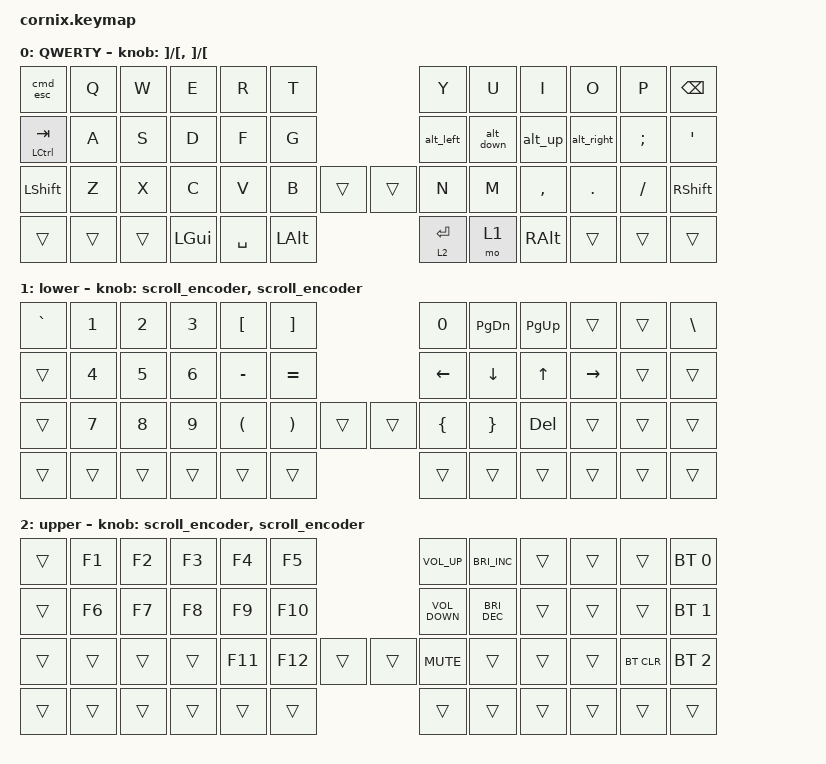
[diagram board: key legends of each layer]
#include <behaviors.dtsi>
#include <dt-bindings/zmk/bt.h>
#include <dt-bindings/zmk/keys.h>
#include <dt-bindings/zmk/pointing.h>

&soft_off { hold-time-ms = <2000>; };

/ {
    behaviors {
        alt_left: alt_left {
            compatible = "zmk,behavior-mod-morph";
            label = "ALT_LEFT";
            bindings = <&kp H>, <&kp LEFT>;

            #binding-cells = <0>;
            mods = <(MOD_RALT)>;
            keep-mods = <(MOD_RALT)>;
        };

        alt_right: alt_right {
            compatible = "zmk,behavior-mod-morph";
            label = "ALT_RIGHT";
            bindings = <&kp L>, <&kp RIGHT>;

            #binding-cells = <0>;
            mods = <(MOD_RALT)>;
            keep-mods = <(MOD_RALT)>;
        };

        alt_down: alt_down {
            compatible = "zmk,behavior-mod-morph";
            label = "ALT_DOWN";
            bindings = <&kp J>, <&kp DOWN>;

            #binding-cells = <0>;
            mods = <(MOD_RALT)>;
            keep-mods = <(MOD_RALT)>;
        };

        alt_up: alt_up {
            compatible = "zmk,behavior-mod-morph";
            label = "ALT_UP";
            bindings = <&kp K>, <&kp UP_ARROW>;

            #binding-cells = <0>;
            mods = <(MOD_RALT)>;
            keep-mods = <(MOD_RALT)>;
        };

        cmd_esc: cmd_esc {
            compatible = "zmk,behavior-mod-morph";
            label = "CMD_ESC";
            bindings = <&kp ESCAPE>, <&kp GRAVE>;

            #binding-cells = <0>;
            mods = <(MOD_LGUI)>;
            keep-mods = <(MOD_LGUI)>;
        };
    };

    scroll_encoder: scroll_encoder {
        compatible = "zmk,behavior-sensor-rotate";
        #sensor-binding-cells = <0>;
        bindings = <&msc SCRL_DOWN>, <&msc SCRL_UP>;

        tap-ms = <100>;
    };

    combos {
        compatible = "zmk,combos";

        softoff {
            bindings = <&soft_off>;
            key-positions = <1 14 25>;
        };
    };

    keymap {
        compatible = "zmk,keymap";

        default_layer {
            display-name = "QWERTY";
            bindings = <
&cmd_esc       &kp Q  &kp W  &kp E  &kp R  &kp T                  &kp Y        &kp U      &kp I      &kp O       &kp P     &kp BSPC
&mt LCTRL TAB  &kp A  &kp S  &kp D  &kp F  &kp G                  &alt_left    &alt_down  &alt_up    &alt_right  &kp SEMI  &kp SQT
&kp LSHFT      &kp Z  &kp X  &kp C  &kp V  &kp B  &trans  &trans  &kp N        &kp M      &kp COMMA  &kp DOT     &kp FSLH  &kp RIGHT_SHIFT
&trans  &trans  &trans  &kp LGUI  &kp SPACE  &kp LALT          &lt 2 ENTER  &mo 1  &kp RALT  &trans  &trans  &trans
            >;

            sensor-bindings =
                <&inc_dec_kp RIGHT_BRACKET LEFT_BRACKET>,
                <&inc_dec_kp RIGHT_BRACKET LEFT_BRACKET>;
        };

        lower_layer {
            display-name = "lower";
            bindings = <
&kp GRAVE  &kp N1  &kp N2  &kp N3  &kp LEFT_BRACKET      &kp RIGHT_BRACKET                      &kp N0    &kp PAGE_DOWN  &kp PAGE_UP  &trans     &trans  &kp BACKSLASH
&trans     &kp N4  &kp N5  &kp N6  &kp MINUS             &kp EQUAL                              &kp LEFT  &kp DOWN     &kp UP         &kp RIGHT  &trans  &trans
&trans     &kp N7  &kp N8  &kp N9  &kp LEFT_PARENTHESIS  &kp RIGHT_PARENTHESIS  &trans  &trans  &kp LBRC  &kp RBRC     &kp DELETE     &trans     &trans  &trans
&trans  &trans  &trans  &trans  &trans  &trans          &trans  &trans  &trans  &trans  &trans  &trans
            >;

            sensor-bindings = <&scroll_encoder>, <&scroll_encoder>;
        };

        raise_layer {
            display-name = "upper";
            bindings = <
&trans  &kp F1  &kp F2  &kp F3  &kp F4   &kp F5                   &kp C_VOLUME_UP    &kp C_BRIGHTNESS_INC  &trans  &trans  &trans      &bt BT_SEL 0
&trans  &kp F6  &kp F7  &kp F8  &kp F9   &kp F10                  &kp C_VOLUME_DOWN  &kp C_BRIGHTNESS_DEC  &trans  &trans  &trans      &bt BT_SEL 1
&trans  &trans  &trans  &trans  &kp F11  &kp F12  &trans  &trans  &kp K_MUTE         &trans                &trans  &trans  &bt BT_CLR  &bt BT_SEL 2
&trans  &trans  &trans  &trans  &trans  &trans          &trans  &trans  &trans  &trans  &trans  &trans
            >;

            sensor-bindings = <&scroll_encoder>, <&scroll_encoder>;
        };
    };
};
